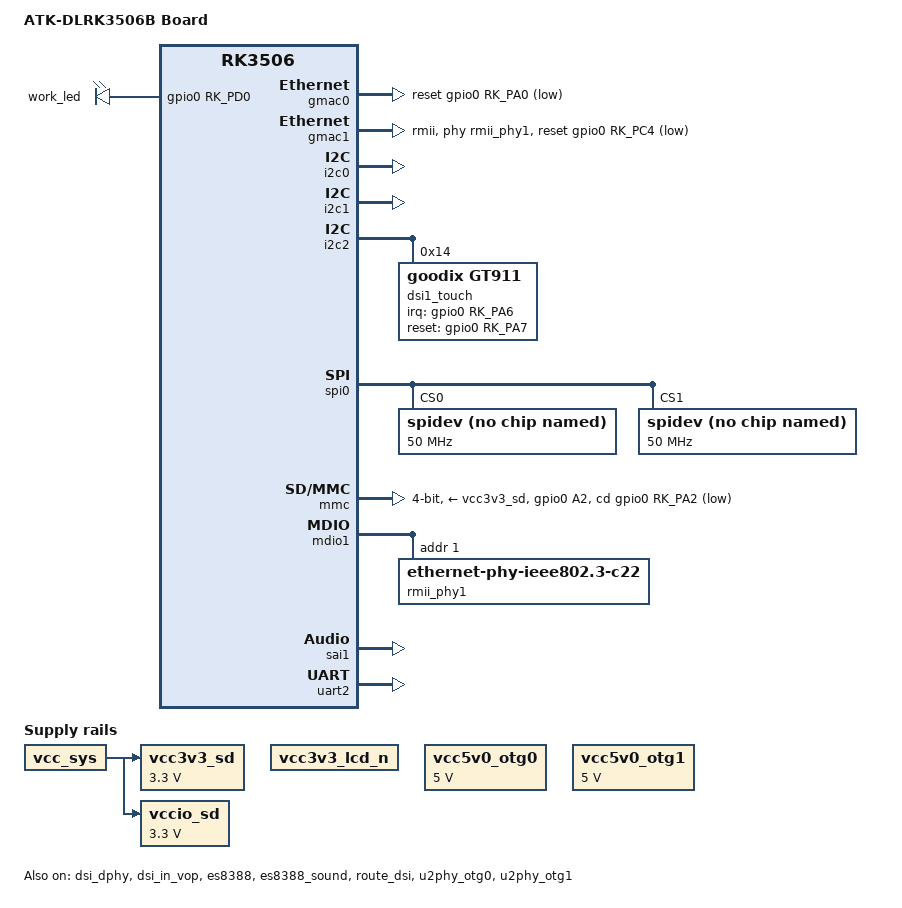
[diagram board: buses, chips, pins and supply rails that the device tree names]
#include <dt-bindings/display/drm_mipi_dsi.h>
#include <dt-bindings/input/rk-input.h>
#include <dt-bindings/suspend/rockchip-rk3506.h>

#include "rk3506.dtsi"
#include "rk3506-evb1-v10.dtsi"

/ {

        model = "ATK-DLRK3506B Board";
        compatible = "rockchip,rk3506b-evb1-v10", "rockchip,rk3506";

        leds: leds {
                compatible = "gpio-leds";
                work_led: work {
                        gpios = <&gpio0 RK_PD0 GPIO_ACTIVE_HIGH>;
                        linux,default-trigger = "heartbeat";
                        status = "okay";
                };
        };

        vcc3v3_lcd_n: vcc3v3-lcd0-n {
                compatible = "regulator-fixed";
                enable-active-high;
                //gpio = <&gpio0 RK_PA1 GPIO_ACTIVE_HIGH>;
                regulator-name = "vcc3v3_lcd_n";
                regulator-boot-on;
                regulator-state-mem {
                        regulator-off-in-suspend;
                };
        };


	vcc3v3_sd: vcc3v3-sd {
		compatible = "regulator-fixed";
		regulator-name = "vcc3v3_sd";
		regulator-always-on;
		regulator-boot-on;
		regulator-min-microvolt = <3300000>;
		regulator-max-microvolt = <3300000>;
		vin-supply = <&vcc_sys>;
	};

        vcc5v0_otg0: vcc5v0-otg0-regulator {
                compatible = "regulator-fixed";
                regulator-name = "vcc5v0_otg0";
                regulator-min-microvolt = <5000000>;
                regulator-max-microvolt = <5000000>;
                enable-active-high;
                //gpio = <&gpio1 RK_PC4 GPIO_ACTIVE_HIGH>;
                pinctrl-names = "default";
                //pinctrl-0 = <&vcc5v0_otg0_en>;
        };

        vcc5v0_otg1: vcc5v0-otg1-regulator {
                compatible = "regulator-fixed";
                regulator-name = "vcc5v0_otg1";
                regulator-boot-on;
                regulator-always-on;
                regulator-min-microvolt = <5000000>;
                regulator-max-microvolt = <5000000>;
                enable-active-high;
                //gpio = <&gpio1 RK_PD0 GPIO_ACTIVE_HIGH>;
                pinctrl-names = "default";
                //pinctrl-0 = <&vcc5v0_otg1_en>;
        };

	vccio_sd: vccio_sd {
		compatible = "regulator-fixed";
		regulator-name = "vccio_sd";
		regulator-always-on;
		regulator-boot-on;
		regulator-min-microvolt = <3300000>;
		regulator-max-microvolt = <3300000>;
		vin-supply = <&vcc_sys>;
	};

	wireless-bluetooth {
		status = "disabled";
	};

	wireless-wlan {
		status = "disabled";
	};
};

&adc_keys {
        status = "disabled";
};

&cma {
        size = <0x1600000>;
};

&dsi_dphy {
        status = "okay";
};

&dsi_in_vop {
        status = "okay";
};

&dsi_panel {
        power-supply = <&vcc3v3_lcd_n>;
};

&es8388 {
        status = "okay";
};

&es8388_sound {
        status = "okay";
	/delete-property/ spk-con-gpio;
	/delete-property/ pinctrl-0;
};

&gmac0 {
        snps,reset-gpio = <&gpio0 RK_PA0 GPIO_ACTIVE_LOW>;
};

&gmac1 {
        phy-mode = "rmii";
        clock_in_out = "output";

        snps,reset-gpio = <&gpio0 RK_PC4 GPIO_ACTIVE_LOW>;
        snps,reset-active-low;
        snps,reset-delays-us = <0 20000 100000>;

        pinctrl-names = "default";
        pinctrl-0 = <&eth_rmii1_miim_pins
                     &eth_rmii1_tx_bus2_pins
                     &eth_rmii1_rx_bus2_pins
                     &eth_rmii1_clk_pins>;

        phy-handle = <&rmii_phy1>;
        status = "okay";
};

&gpio_keys {
	status = "disabled";
};

&i2c0 {
	status = "okay";
	pinctrl-names = "default";
	pinctrl-0 = <&rm_io13_i2c0_scl
		     &rm_io14_i2c0_sda>;
};

&i2c1 {
	status = "okay";
	pinctrl-names = "default";
	pinctrl-0 = <&rm_io24_i2c1_scl
		     &rm_io25_i2c1_sda>;
};

&i2c2 {
        dsi1_touch: gt9xx@14 {
                compatible = "goodix,gt911";
                reg = <0x14>;
                pinctrl-names = "default";
                pinctrl-0 = <&touch1_gpio>;
		interrupt-parent = <&gpio0>;
                interrupts = <RK_PA6 IRQ_TYPE_LEVEL_LOW>;
		irq-gpios = <&gpio0 RK_PA6 IRQ_TYPE_LEVEL_LOW>;
                reset-gpios = <&gpio0 RK_PA7 GPIO_ACTIVE_HIGH>;
                wakeup-source;
                //touchscreen-inverted-x;
                //touchscreen-swapped-x-y;
                status = "okay";
        };
	/delete-node/ gt1x;
};

&sdio_pwrseq{
        status = "disabled";
};

&spi0{
	status = "okay";
	pinctrl-names = "default";
	pinctrl-0 = <&spi0_csn0_pins &spi0_csn1_pins &spi0_clk_pins>;
	spidev@0{
		compatible = "rockchip,spidev";
		spi-max-frequency = <50000000>;
		reg = <0>;
	};

	spidev@1{
		compatible = "rockchip,spidev";
		spi-max-frequency = <50000000>;
		reg = <1>;
	};
};

&mmc {
	bus-width = <4>;
	supports-sd;
	cap-sd-highspeed;
	cap-mmc-highspeed;
	no-sdio;
	no-mmc;
	pinctrl-names = "default";
	pinctrl-0 = <&sdmmc_clk_pins &sdmmc_cmd_pins &sdmmc_bus4_pins &sdmmc_det>;
	cd-gpios = <&gpio0 RK_PA2 GPIO_ACTIVE_LOW>;
	vmmc-supply = <&vcc3v3_sd>;
	vqmmc-supply = <&vccio_sd>;
	no-1-8-v;
	status = "okay";
	/delete-property/ ignore-pm-notify;
	/delete-property/ keep-power-in-suspend;
	/delete-property/ non-removable;
	/delete-property/ mmc-pwrseq;
	/delete-property/ no-sd;
	/* Some TF cards do not support the SD3.0 */
	/delete-property/ sd-uhs-sdr104;
};

&mdio1 {
        rmii_phy1: phy@1 {
                compatible = "ethernet-phy-ieee802.3-c22";
                reg = <0x1>;
        };
};

&pwm0_4ch_1 {
	status = "disabled";
};

&pinctrl {

        touch1 {
                touch1_gpio: touch1-gpio {
                        rockchip,pins = <0 RK_PA6 RK_FUNC_GPIO &pcfg_pull_none>,
                                        <0 RK_PA7 RK_FUNC_GPIO &pcfg_pull_up>;
                };
        };

        sdmmc {
                /omit-if-no-ref/
                sdmmc_det: sdmmc-det {
                        rockchip,pins =
                        /* sdmmc_det */
                        <0 RK_PA2 1 &pcfg_pull_up>;
                };
        };

	usb {
                vcc5v0_otg0_en: vcc5v0-otg0-en {
                        rockchip,pins = <1 RK_PC4 RK_FUNC_GPIO &pcfg_pull_none>;
                };

                vcc5v0_otg1_en: vcc5v0-otg1-en {
                        rockchip,pins = <1 RK_PD0 RK_FUNC_GPIO &pcfg_pull_none>;
                };
        };

};

&route_dsi {
        status = "okay";
};

&sai1 {
        status = "okay";
};


&uart2{
	dma-names = "tx","rx";
	pinctrl-names = "default";
	pinctrl-0 = <&rm_io27_uart2_rx
		     &rm_io26_uart2_tx>;
	status = "okay";
};

&u2phy_otg0 {
        vbus-supply = <&vcc5v0_otg0>;
        status = "okay";
};

&u2phy_otg1 {
        phy-supply = <&vcc5v0_otg1>;
        status = "okay";
};

&uart5 {
	status = "disabled";
};
